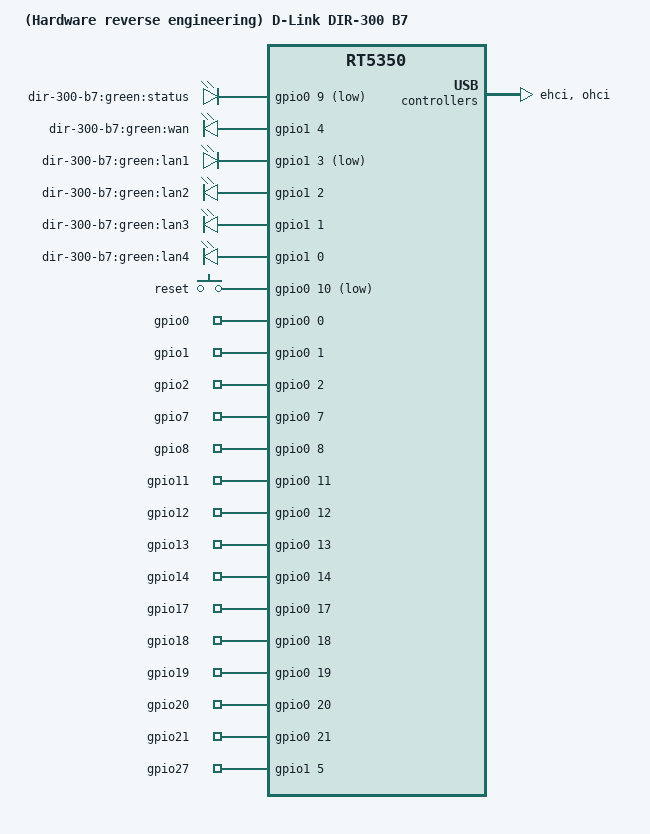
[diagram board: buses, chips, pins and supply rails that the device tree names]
/dts-v1/;

#include "rt5350_dlink_dir-300-b7.dtsi"

#include <dt-bindings/gpio/gpio.h>
#include <dt-bindings/input/input.h>

/ {
	compatible = "dlink,dir-300-b7", "ralink,rt5350-soc";
	model = "(Hardware reverse engineering) D-Link DIR-300 B7";

	aliases {
		led-boot = &led_status;
		led-failsafe = &led_status;
		led-running = &led_status;
		led-upgrade = &led_status;
	};

	leds {
		compatible = "gpio-leds";

		led_status: status {
			label = "dir-300-b7:green:status";
			gpios = <&gpio0 9 GPIO_ACTIVE_LOW>;
		};

		wan {
			// GPIO26
			// LAN4
			label = "dir-300-b7:green:wan";
			gpios = <&gpio1 4 GPIO_ACTIVE_HIGH>;
		};

		lan1 {
			// GPIO25
			// LAN3
			label = "dir-300-b7:green:lan1";
			gpios = <&gpio1 3 GPIO_ACTIVE_LOW>;
		};

		lan2 {
			// GPIO24
			// LAN2
			label = "dir-300-b7:green:lan2";
			gpios = <&gpio1 2 GPIO_ACTIVE_HIGH>;
		};

		lan3 {
			// GPIO23
			// LAN1
			label = "dir-300-b7:green:lan3";
			gpios = <&gpio1 1 GPIO_ACTIVE_HIGH>;
		};

		lan4 {
			// GPIO22
			// LAN0
			label = "dir-300-b7:green:lan4";
			gpios = <&gpio1 0 GPIO_ACTIVE_HIGH>;
		};

	};

	keys {
		compatible = "gpio-keys-polled";
		poll-interval = <20>;

		reset {
			label = "reset";
			gpios = <&gpio0 10 GPIO_ACTIVE_LOW>;
			linux,code = <KEY_RESTART>;
		};

		/*
		wps {
			label = "wps";
			gpios = <&gpio0 0 GPIO_ACTIVE_LOW>;
			linux,code = <KEY_WPS_BUTTON>;
		};
		*/
	};

	gpio-export {
		compatible = "gpio-export";
		#size-cells = <0>;

		gpio0 {
			gpio-export,name = "gpio0";
			gpio-export,direction_may_change = <1>;
			gpios = <&gpio0 0 GPIO_ACTIVE_HIGH>;
		};

		/* GPIOs 1-2 are I2C */
		/* GPIOs 3-6 are SPI */
		/* GPIO 7-14 are uart1 */
		/* GPIOs 15 & 16 are uart2 */

		gpio1 {
			gpio-export,name = "gpio1";
			gpio-export,direction_may_change = <1>;
			gpios = <&gpio0 1 GPIO_ACTIVE_HIGH>;
		};

		gpio2 {
			gpio-export,name = "gpio2";
			gpio-export,direction_may_change = <1>;
			gpios = <&gpio0 2 GPIO_ACTIVE_HIGH>;
		};

		gpio7 {
			gpio-export,name = "gpio7";
			gpio-export,direction_may_change = <1>;
			gpios = <&gpio0 7 GPIO_ACTIVE_HIGH>;
		};

		gpio8 {
			gpio-export,name = "gpio8";
			gpio-export,direction_may_change = <1>;
			gpios = <&gpio0 8 GPIO_ACTIVE_HIGH>;
		};


		// 9 led 10 btn

		gpio11 {
			gpio-export,name = "gpio11";
			gpio-export,direction_may_change = <1>;
			gpios = <&gpio0 11 GPIO_ACTIVE_HIGH>;
		};

		gpio12 {
			gpio-export,name = "gpio12";
			gpio-export,direction_may_change = <1>;
			gpios = <&gpio0 12 GPIO_ACTIVE_HIGH>;
		};

		gpio13 {
			// WPS LED?
			gpio-export,name = "gpio13";
			gpio-export,direction_may_change = <1>;
			gpios = <&gpio0 13 GPIO_ACTIVE_HIGH>;
		};

		gpio14 {
			gpio-export,name = "gpio14";
			gpio-export,direction_may_change = <1>;
			gpios = <&gpio0 14 GPIO_ACTIVE_HIGH>;
		};

		/* 15 16 uart lite */

		/* JTAG */

		gpio17 {
			// JTAG_TDO
			gpio-export,name = "gpio17";
			gpio-export,direction_may_change = <1>;
			gpios = <&gpio0 17 GPIO_ACTIVE_HIGH>;
		};

		gpio18 {
			// JTAG_TDI
			gpio-export,name = "gpio18";
			gpio-export,direction_may_change = <1>;
			gpios = <&gpio0 18 GPIO_ACTIVE_HIGH>;
		};

		gpio19 {
			// JTAG_TMS
			gpio-export,name = "gpio19";
			gpio-export,direction_may_change = <1>;
			gpios = <&gpio0 19 GPIO_ACTIVE_HIGH>;
		};

		gpio20 {
			// JTAG_TCLK
			gpio-export,name = "gpio20";
			gpio-export,direction_may_change = <1>;
			gpios = <&gpio0 20 GPIO_ACTIVE_HIGH>;
		};

		gpio21 {
			//
			gpio-export,name = "gpio21";
			gpio-export,direction_may_change = <1>;
			gpios = <&gpio0 21 GPIO_ACTIVE_HIGH>;
		};

		/* ETH LEDs */
		/*
		gpio22 {
			gpio-export,name = "gpio22";
			gpio-export,direction_may_change = <1>;
			gpios = <&gpio1 0 GPIO_ACTIVE_HIGH>;
		};

		gpio23 {
			gpio-export,name = "gpio23";
			gpio-export,direction_may_change = <1>;
			gpios = <&gpio1 1 GPIO_ACTIVE_HIGH>;
		};

		gpio24 {
			gpio-export,name = "gpio24";
			gpio-export,direction_may_change = <1>;
			gpios = <&gpio1 2 GPIO_ACTIVE_HIGH>;
		};

		gpio25 {
			gpio-export,name = "gpio25";
			gpio-export,direction_may_change = <1>;
			gpios = <&gpio1 3 GPIO_ACTIVE_HIGH>;
		};

		
		gpio26 {
			gpio-export,name = "gpio26";
			gpio-export,direction_may_change = <1>;
			gpios = <&gpio1 4 GPIO_ACTIVE_HIGH>;
		};
		*/

		gpio27 {
			// spi_cs1
			gpio-export,name = "gpio27";
			gpio-export,direction_may_change = <1>;
			gpios = <&gpio1 5 GPIO_ACTIVE_HIGH>;
		};
	};
};

&gpio1 {
	status = "okay";
};

&pinctrl {
	state_default: pinctrl0 {
		gpio {
			ralink,group = "i2c", "jtag", "spi_cs1", "uartf", "led";
			ralink,function = "gpio";
		};

		/*
		phy_led {
			ralink,group =  "led";
			ralink,function = "led";
		};
		*/
	};
};

&ehci {
	status = "okay";
};

&ohci {
	status = "okay";
};
